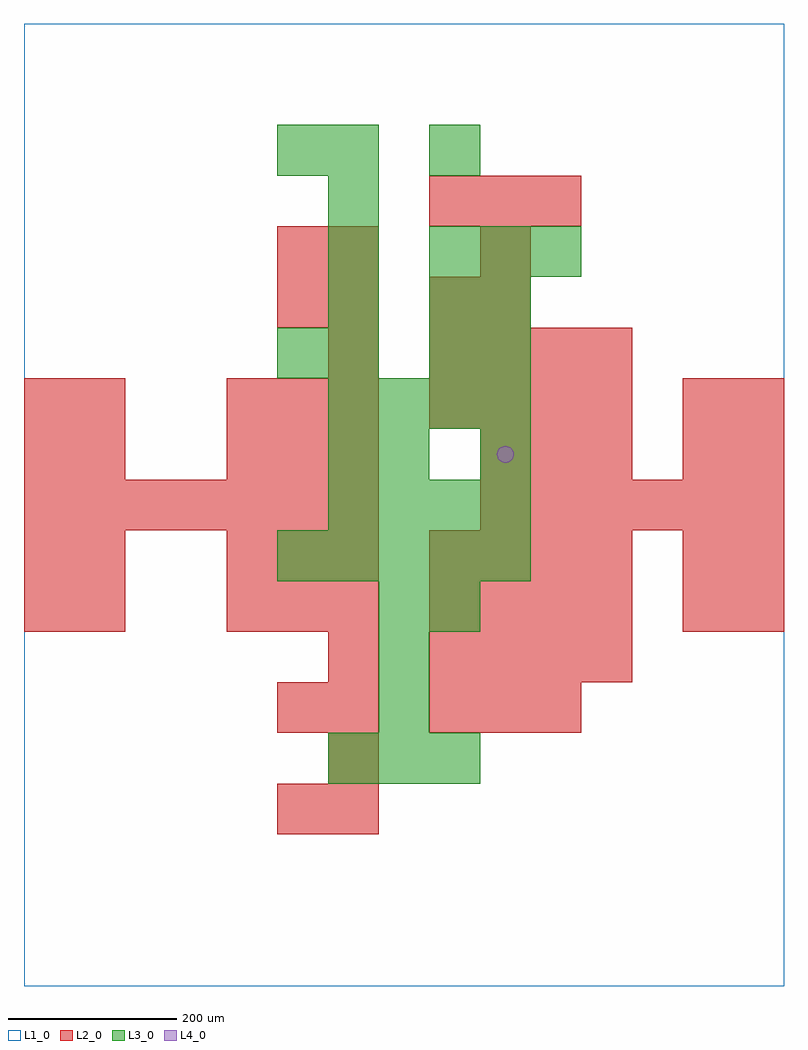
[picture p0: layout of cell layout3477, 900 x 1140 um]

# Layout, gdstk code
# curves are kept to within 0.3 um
import gdstk
lib = gdstk.Library(unit=1e-6, precision=1e-09)
def R(c, l, rs):  # rectangles x0, y0, x1, y1
    for r in rs: c.add(gdstk.rectangle(r[:2], r[2:], *l))
def A(c, l, x, y, w, h, nx, ny, dx, dy):  # array of equal rectangles
    R(c, l, [(x+i*dx, y+j*dy, x+i*dx+w, y+j*dy+h) for i in range(nx) for j in range(ny)])
def P(c, l, *ps):  # polygons
    for p in ps: c.add(gdstk.Polygon(p, *l))
L1_0 = (1, 0)
L2_0 = (2, 0)
L3_0 = (3, 0)
L4_0 = (4, 0)

layout3477 = lib.new_cell('layout3477')
R(layout3477, L1_0, [(0,0,900,1140)])
A(layout3477, L2_0, 360, 180, 60, 60, 1, 4, 0, 60)
A(layout3477, L2_0, 480, 300, 60, 60, 3, 2, 60, 600)
A(layout3477, L2_0, 480, 360, 60, 60, 4, 3, 60, 60)
A(layout3477, L2_0, 240, 420, 60, 60, 3, 2, 60, 60)
A(layout3477, L2_0, 0, 540, 60, 60, 7, 1, 60, 0)
A(layout3477, L2_0, 540, 540, 60, 60, 6, 1, 60, 0)
A(layout3477, L2_0, 240, 600, 60, 60, 3, 2, 60, 60)
A(layout3477, L2_0, 540, 600, 60, 60, 3, 1, 60, 0)
A(layout3477, L2_0, 480, 660, 60, 60, 4, 2, 60, 60)
A(layout3477, L2_0, 360, 720, 60, 60, 1, 3, 0, 60)
R(layout3477, L2_0, [(300,180,360,240), (300,300,360,360), (0,420,60,480), (60,420,120,480), (780,420,840,480), (840,420,900,480), (0,480,60,540), (60,480,120,540), (780,480,840,540), (840,480,900,540), (0,600,60,660), (60,600,120,660), (780,600,840,660), (840,600,900,660), (0,660,60,720), (60,660,120,720), (780,660,840,720), (840,660,900,720), (300,780,360,840), (480,780,540,840), (540,780,600,840), (300,840,360,900), (540,840,600,900)])
A(layout3477, L3_0, 360, 240, 60, 60, 3, 1, 60, 0)
A(layout3477, L3_0, 420, 300, 60, 60, 1, 3, 0, 60)
A(layout3477, L3_0, 300, 480, 60, 60, 5, 1, 60, 0)
A(layout3477, L3_0, 360, 540, 60, 60, 4, 2, 60, 120)
A(layout3477, L3_0, 360, 720, 60, 60, 1, 5, 0, 60)
A(layout3477, L3_0, 480, 840, 60, 60, 3, 1, 60, 0)
R(layout3477, L3_0, [(480,420,540,480), (360,600,420,660), (420,600,480,660), (540,600,600,660), (300,720,360,780), (480,720,540,780), (540,720,600,780), (480,780,540,840), (540,780,600,840), (300,960,360,1020), (480,960,540,1020)])
P(layout3477, L4_0, [(580,630),(579.239,633.827),(577.071,637.071),(573.827,639.239),(570,640),(566.173,639.239),(562.929,637.071),(560.761,633.827),(560,630),(560.761,626.173),(562.929,622.929),(566.173,620.761),(570,620),(573.827,620.761),(577.071,622.929),(579.239,626.173)])

lib.write_gds('layout3477.gds')
